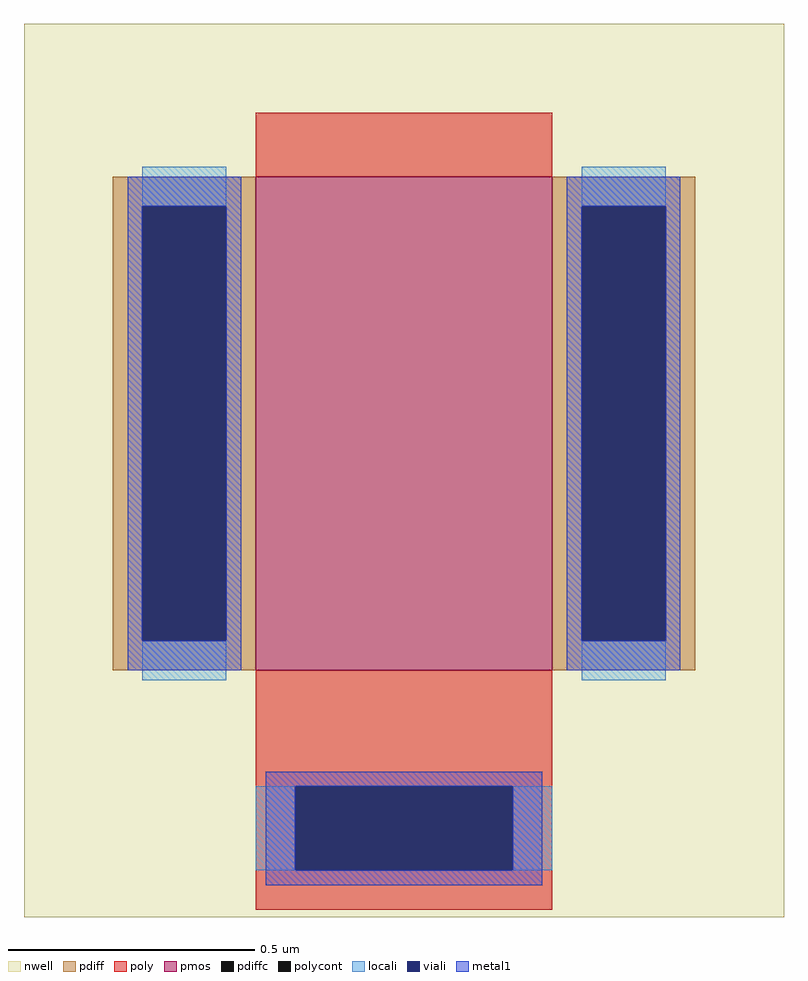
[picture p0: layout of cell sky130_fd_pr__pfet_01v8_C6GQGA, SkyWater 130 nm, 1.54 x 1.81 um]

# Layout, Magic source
magic
tech sky130A
magscale 1 2
<< nwell >>
rect -154 -164 154 198
<< pmos >>
rect -60 -64 60 136
<< pdiff >>
rect -118 124 -60 136
rect -118 -52 -106 124
rect -72 -52 -60 124
rect -118 -64 -60 -52
rect 60 124 118 136
rect 60 -52 72 124
rect 106 -52 118 124
rect 60 -64 118 -52
<< pdiffc >>
rect -106 -52 -72 124
rect 72 -52 106 124
<< poly >>
rect -60 136 60 162
rect -60 -111 60 -64
rect -60 -145 -44 -111
rect 44 -145 60 -111
rect -60 -161 60 -145
<< polycont >>
rect -44 -145 44 -111
<< locali >>
rect -106 124 -72 140
rect -106 -68 -72 -52
rect 72 124 106 140
rect 72 -68 106 -52
rect -60 -145 -44 -111
rect 44 -145 60 -111
<< viali >>
rect -106 -52 -72 124
rect 72 -52 106 124
rect -44 -145 44 -111
<< metal1 >>
rect -112 124 -66 136
rect -112 -52 -106 124
rect -72 -52 -66 124
rect -112 -64 -66 -52
rect 66 124 112 136
rect 66 -52 72 124
rect 106 -52 112 124
rect 66 -64 112 -52
rect -56 -111 56 -105
rect -56 -145 -44 -111
rect 44 -145 56 -111
rect -56 -151 56 -145
<< properties >>
string gencell sky130_fd_pr__pfet_01v8
string library sky130
string parameters w 1 l 0.6 m 1 nf 1 diffcov 100 polycov 100 guard 0 glc 1 grc 1 gtc 1 gbc 1 tbcov 100 rlcov 100 topc 0 botc 1 poverlap 0 doverlap 1 lmin 0.15 wmin 0.42 compatible {sky130_fd_pr__pfet_01v8  sky130_fd_pr__pfet_01v8_lvt sky130_fd_pr__pfet_01v8_hvt  sky130_fd_pr__pfet_g5v0d10v5} full_metal 1 viasrc 100 viadrn 100 viagate 100 viagb 0 viagr 0 viagl 0 viagt 0
<< end >>
